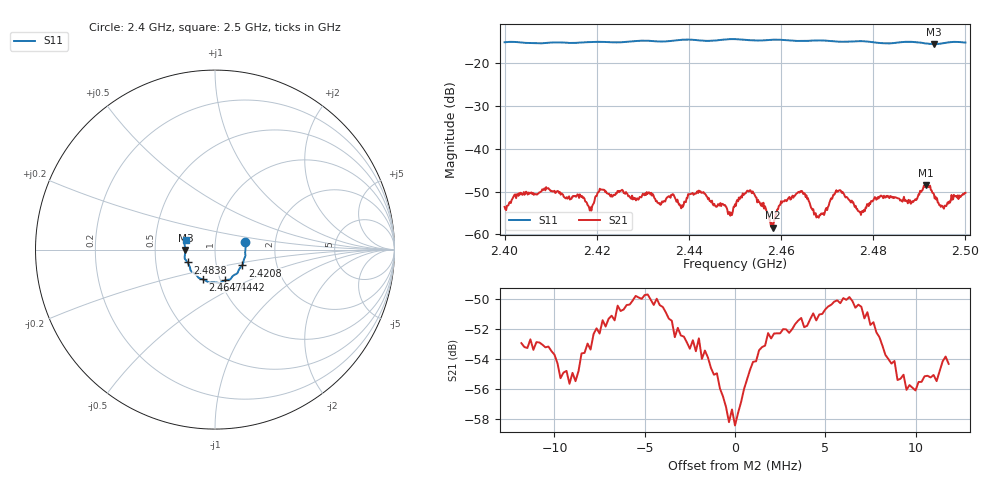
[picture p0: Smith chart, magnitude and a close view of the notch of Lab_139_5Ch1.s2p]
# Hz S RI R 50
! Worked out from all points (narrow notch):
!   601 points, 2.4 GHz to 2.5 GHz, reference 50 ohm
!   highest |S21| = -48.49 dB at 2.4915 GHz (marker M1); lowest = -58.4 dB at 2.4582 GHz (marker M2)
!   notch at M2: 7.0 dB deep, 2 MHz wide at half that depth
!   lowest |S11| = -15.6 dB at 2.4932 GHz (marker M3), VSWR 1.40, Z = 35.8 - j0.0978 ohm
!   |S11| at or under -10 dB: start of sweep to end of sweep
!   S12 and S22 are empty: the file has one direction only
!   S11 on the Smith chart (normalised r, x): 2.4 GHz: 1.40, +0.12; 2.4208 GHz: 1.33, -0.24; 2.4442 GHz: 1.05, -0.37; 2.4647 GHz: 0.83, -0.29; 2.4838 GHz: 0.73, -0.11; 2.5 GHz: 0.71, +0.08
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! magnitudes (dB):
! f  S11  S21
! 2.4 GHz  -15.2  -53.6
! 2.409 GHz  -15.4  -49.0
! 2.4167 GHz  -15.3  -51.2
! 2.4187 GHz  -15.1  -53.7
! 2.4208 GHz  -15.1  -49.5
! 2.4333 GHz  -15.0  -52.7
! 2.4442 GHz  -14.9  -51.8
! 2.45 GHz  -14.5  -53.0
! 2.4537 GHz  -14.8  -50.4
! 2.4582 GHz  -14.6  -58.4
! 2.4647 GHz  -14.9  -50.1
! 2.4667 GHz  -14.8  -54.0
! 2.469 GHz  -14.8  -55.2
! 2.4725 GHz  -15.1  -49.8
! 2.4773 GHz  -15.0  -55.5
! 2.4833 GHz  -15.5  -51.3
! 2.4838 GHz  -15.5  -51.3
! 2.4887 GHz  -15.1  -52.4
! 2.4915 GHz  -15.5  -48.5
! 2.4932 GHz  -15.6  -50.6
! 2.4952 GHz  -15.4  -53.7
! 2.5 GHz  -15.3  -50.3
